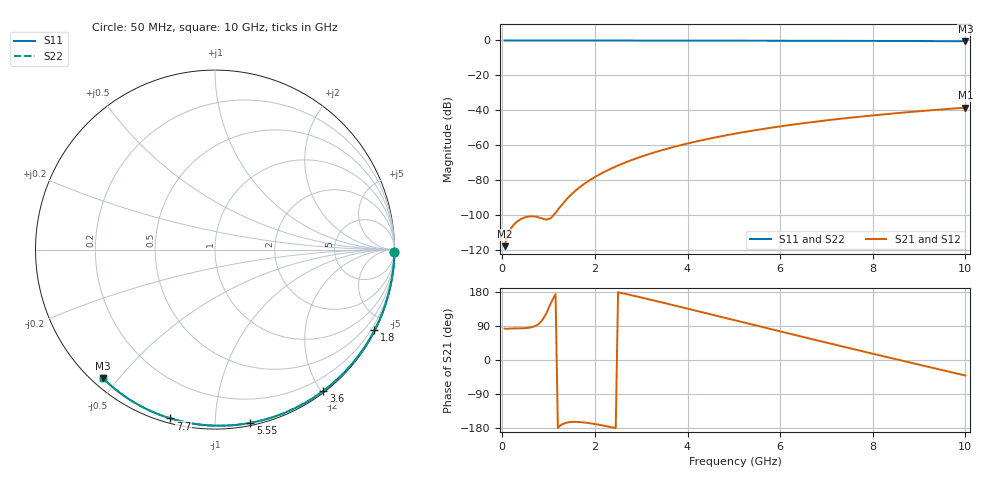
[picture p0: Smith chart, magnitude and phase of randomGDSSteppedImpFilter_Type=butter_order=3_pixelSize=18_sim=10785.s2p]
! freq	dB(S11)	phase(S11)	dB(S12)	phase(S12)
!  dB(S21)	phase(S21)	dB(S22)	phase(S22)
!S-par simulation data
#  GHz  S  DB  R 50
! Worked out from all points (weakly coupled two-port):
!   200 points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, 50 MHz to 10 GHz, reference 50 ohm
!   highest |S21| = -38.44 dB at 10 GHz (marker M1); lowest = -117.7 dB at 50 MHz (marker M2)
!   lowest |S11| = -0.4 dB at 10 GHz (marker M3), VSWR 39.22, Z = 1.54 - j22.7 ohm
!   |S11| at or under -10 dB: nowhere
!   |S22| runs from -0.4 to 0.0 dB; largest |S21 - S12| = 0
!   S11 on the Smith chart (normalised r, x): 50 MHz: open; 1.8 GHz: 0.04, -4.19; 3.6 GHz: 0.02, -2.03; 5.55 GHz: 0.02, -1.22; 7.7 GHz: 0.02, -0.77; 10 GHz: 0.03, -0.45
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0.05  -0.00 -0.8  -117.65 82.9  -117.65 82.9  -0.00 -0.8
0.9  -0.02 -13.6  -102.18 112.3  -102.18 112.3  -0.02 -13.6
1.75  -0.03 -26.1  -82.39 -164.6  -82.39 -164.6  -0.03 -26.1
1.8  -0.03 -26.9  -81.46 -165.3  -81.46 -165.3  -0.03 -26.9
1.85  -0.04 -27.6  -80.57 -166.1  -80.57 -166.1  -0.04 -27.6
1.9  -0.04 -28.3  -79.72 -167.0  -79.72 -167.0  -0.04 -28.3
2.05  -0.04 -30.5  -77.35 -170.0  -77.35 -170.0  -0.04 -30.5
2.25  -0.04 -33.4  -74.55 -174.7  -74.55 -174.7  -0.04 -33.4
2.45  -0.05 -36.3  -72.08 -179.8  -72.08 -179.8  -0.05 -36.3
2.65  -0.05 -39.2  -69.86 174.8  -69.86 174.8  -0.05 -39.2
3  -0.06 -44.1  -66.45 165.0  -66.45 165.0  -0.06 -44.1
3.4  -0.07 -49.7  -63.12 153.4  -63.12 153.4  -0.07 -49.7
3.6  -0.07 -52.5  -61.63 147.4  -61.63 147.4  -0.07 -52.5
4.3  -0.09 -62.1  -57.12 126.5  -57.12 126.5  -0.09 -62.1
5.05  -0.11 -72.0  -53.19 104.0  -53.19 104.0  -0.11 -72.0
5.55  -0.13 -78.5  -50.95 89.0  -50.95 89.0  -0.13 -78.5
6.1  -0.15 -85.4  -48.77 72.5  -48.77 72.5  -0.15 -85.4
6.7  -0.18 -92.8  -46.67 54.7  -46.67 54.7  -0.18 -92.8
7.7  -0.24 -104.8  -43.66 25.3  -43.66 25.3  -0.24 -104.8
8.35  -0.29 -112.3  -41.98 6.4  -41.98 6.4  -0.29 -112.3
9.15  -0.36 -121.5  -40.15 -16.6  -40.15 -16.6  -0.36 -121.5
10  -0.44 -131.1  -38.44 -40.9  -38.44 -40.9  -0.44 -131.1
